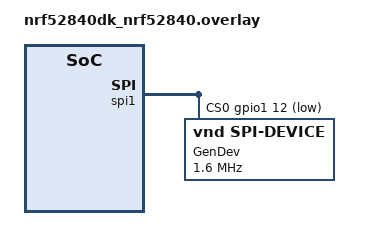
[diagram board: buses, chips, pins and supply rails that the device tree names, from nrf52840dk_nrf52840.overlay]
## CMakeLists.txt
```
# SPDX-License-Identifier: Apache-2.0

cmake_minimum_required(VERSION 3.20.0)
set_property(GLOBAL PROPERTY CSTD c11)
find_package(Zephyr REQUIRED HINTS $ENV{ZEPHYR_BASE})
project(ble-ad7124)

target_sources(app PRIVATE src/main.c src/ad7124_ble.c src/ad7124_support.c src/ad7124.c src/storage_nvs.c)
```

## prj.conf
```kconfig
CONFIG_GPIO=y

CONFIG_SPI=y
CONFIG_HEAP_MEM_POOL_SIZE=1024

CONFIG_BT=y
CONFIG_SETTINGS=y
CONFIG_BT_SMP=y
CONFIG_BT_SIGNING=y
CONFIG_BT_PERIPHERAL=y
CONFIG_BT_BAS=y

CONFIG_BT_DEVICE_NAME="UU_respiratory"
CONFIG_BT_DEVICE_APPEARANCE=541
CONFIG_BT_DEVICE_NAME_DYNAMIC=n
CONFIG_BT_PRIVACY=n

#memory
CONFIG_FLASH=y
CONFIG_FLASH_PAGE_LAYOUT=y
CONFIG_FLASH_MAP=y
CONFIG_NVS=y
CONFIG_NORDIC_QSPI_NOR=y
CONFIG_NORDIC_QSPI_NOR_FLASH_LAYOUT_PAGE_SIZE=4096
CONFIG_HEAP_MEM_POOL_SIZE=2048
CONFIG_PM_DEVICE=y
CONFIG_PARTITION_MANAGER_ENABLED=y

#power
CONFIG_USB_DEVICE_STACK=n
CONFIG_POWEROFF=y


CONFIG_LOG=n
CONFIG_SERIAL=n
CONFIG_CONSOLE=n
CONFIG_USB_CDC_ACM_LOG_LEVEL_OFF=n
```

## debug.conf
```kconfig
#debug
CONFIG_LOG=y
CONFIG_RTT_CONSOLE=y
CONFIG_USE_SEGGER_RTT=y
CONFIG_CBPRINTF_FP_SUPPORT=y
CONFIG_CORTEX_M_DEBUG_MONITOR_HOOK=y
CONFIG_SEGGER_DEBUGMON=y
CONFIG_DEBUG_OPTIMIZATIONS=y
CONFIG_DEBUG_THREAD_INFO=y
CONFIG_LOG_FUNC_NAME_PREFIX_ERR=y
```

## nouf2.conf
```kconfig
CONFIG_BUILD_OUTPUT_UF2=n
CONFIG_USE_DT_CODE_PARTITION=n
```

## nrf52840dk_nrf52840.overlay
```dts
&spi1 {
    status = "okay";
	cs-gpios = <&gpio1 12 GPIO_ACTIVE_LOW>;	
	gendev: gendev@0 {
		compatible = "vnd,spi-device";
		reg = <0>;
		spi-max-frequency = <1600000>;
		label = "GenDev";
	}; 
};
```

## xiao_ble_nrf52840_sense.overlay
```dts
/*
 * Copyright (c) 2024 Centro de Inovacao EDGE
 *
 * SPDX-License-Identifier: Apache-2.0
 */

 / {
	// zephyr,user {
	// 	signal-gpios = <&gpio1 11 GPIO_ACTIVE_HIGH>;			
	// };

	aliases {
		adc0 = &adc;
        spi-flash0 = &p25q16h;	
			
	};
	
	msm261d3526hicpm-c-en {		
		status = "disabled";
	};

	lsm6ds3tr-c-en {
		status = "disabled";
	};

	// sw_en: ad7124-c-en {
	// 	compatible = "regulator-fixed-sync", "regulator-fixed";
	// 	enable-gpios = <&gpio1 11 (NRF_GPIO_DRIVE_S0H1 | GPIO_ACTIVE_HIGH)>;
	// 	regulator-name = "AD7124_C_EN";
	// 	// regulator-boot-on;
	// 	// startup-delay-us = <3000>;
	// };    
};

&gpio0 {
    status = "disabled";
    sense-edge-mask = <0xffffffff>;
};

&gpio1 {
    status = "okay";
    //sense-edge-mask = <0xffffffff>;
};

&uart0 {
    status = "disabled";
};

&pwm0 {
    status = "disabled"; 
};

&spi0 {
	status = "disabled";
};

&spi1 {
	status = "disabled";
};

&spi2 {    
	status = "okay";
	cs-gpios = <&gpio1 12 GPIO_ACTIVE_LOW>;	
		
	gendev: gendev@0 {
		
		compatible = "vnd,spi-device";
		reg = <0>;		
		spi-max-frequency = <DT_FREQ_M(1)>;
		
		label = "GenDev";
		status = "okay";
	}; 
};

&i2c0 {	
    lsm6ds3tr_c: lsm6ds3tr-c@6a {
        status = "disabled";
    };
	status = "disabled";
};

&i2c1 {
    status = "disabled";
};

&ieee802154 {
    status = "disabled";
};

&rtc0 {
	status = "okay";
};

&usbd {
    status = "disabled";
};

&adc {
	// #address-cells = <1>;
	// #size-cells = <0>;

	// channel@0 {
	// 	reg = <0>;
	// 	zephyr,gain = "ADC_GAIN_1";
	// 	zephyr,reference = "ADC_REF_INTERNAL";
	// 	zephyr,acquisition-time = <ADC_ACQ_TIME_DEFAULT>;
	// 	zephyr,input-positive = <NRF_SAADC_AIN1>; /* P0.03 */
	// 	zephyr,oversampling = <8>;
	// };

	// channel@1 {
	// 	reg = <1>;
	// 	zephyr,gain = "ADC_GAIN_1_6";
	// 	zephyr,reference = "ADC_REF_INTERNAL";
	// 	zephyr,acquisition-time = <ADC_ACQ_TIME_DEFAULT>;
	// 	zephyr,input-positive = <NRF_SAADC_VDD>;
	// 	zephyr,oversampling = <8>;
	// };
};

// &pinctrl {
//     qspi_default: qspi_default {
// 		group1 {
// 			psels = <NRF_PSEL(QSPI_SCK, 0, 21)>,
// 				<NRF_PSEL(QSPI_IO0, 0, 20)>,
// 				<NRF_PSEL(QSPI_IO1, 0, 24)>,
// 				<NRF_PSEL(QSPI_IO2, 0, 22)>,
// 				<NRF_PSEL(QSPI_IO3, 0, 23)>,
// 				<NRF_PSEL(QSPI_CSN, 0, 25)>;
// 		};
// 	};

// 	qspi_sleep: qspi_sleep {
// 		group1 {
// 			psels = <NRF_PSEL(QSPI_SCK, 0, 21)>,
// 				<NRF_PSEL(QSPI_IO0, 0, 20)>,
// 				<NRF_PSEL(QSPI_IO1, 0, 24)>,
// 				<NRF_PSEL(QSPI_IO2, 0, 22)>,
// 				<NRF_PSEL(QSPI_IO3, 0, 23)>;
// 			low-power-enable;
// 		};
//         group2 {
// 			psels = <NRF_PSEL(QSPI_CSN, 0, 25)>;
// 			low-power-enable;
// 			bias-pull-up;
// 		};
// 	};
//};
```

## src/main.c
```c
#include <zephyr/kernel.h>


int main(void)
{	
	k_sleep(K_FOREVER);
	
	return 0;

}
```

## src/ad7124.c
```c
/* **************************************************************************//**
*   @file    ad7124.c
*   @brief   AD7124 implementation file.
*   	     Devices: AD7124-4, AD7124-8
*
********************************************************************************
* Copyright 2015-2019(c) Analog Devices, Inc.
*/
#include "ad7124.h"
#include <stdbool.h>
#include <zephyr/logging/log.h>

LOG_MODULE_REGISTER(AD7124_CORE, LOG_LEVEL_INF);
/* Error codes */
#define INVALID_VAL -1 /* Invalid argument */
#define COMM_ERR    -2 /* Communication error on receive */
#define TIMEOUT     -3 /* A timeout has occured */

/*
 * Post reset delay required to ensure all internal config done
 * A time of 2ms should be enough based on the data sheet, but 4ms
 * chosen to provide enough margin, in case mdelay is not accurate.
 */
#define AD7124_POST_RESET_DELAY      4
#define buflen 8



/***************************************************************************//**
 * @brief Reads the value of the specified register without checking if the
 *        device is ready to accept user requests.
 *
 * @param dev   - The handler of the instance of the driver.
 * @param p_reg - Pointer to the register structure holding info about the
 *               register to be read. The read value is stored inside the
 *               register structure.
 *
 * @return Returns 0 for success or negative error code.
*******************************************************************************/
int32_t ad7124_no_check_read_register(struct ad7124_dev *dev,
				      struct ad7124_st_reg* p_reg)
{
	
	int32_t ret = 0;
	uint8_t bufsend[buflen] = {0};
	uint8_t bufrec[buflen] = {0};
	uint8_t i = 0;
	uint8_t check8 = 0, add_status_length = 0;
	uint8_t msg_buf[buflen] = {0, 0, 0, 0, 0, 0, 0, 0};

	if(!dev || !p_reg)
		return INVALID_VAL;

	/* Build the Command word */
	bufsend[0] = AD7124_COMM_REG_WEN | AD7124_COMM_REG_RD |
		    AD7124_COMM_REG_RA(p_reg->addr);

	/*
	 * If this is an AD7124_DATA register read, and the DATA_STATUS bit is set
	 * in ADC_CONTROL, need to read 4, not 3 bytes for DATA with STATUS
	 */
	if ((p_reg->addr == AD7124_DATA_REG) &&
	    (dev->regs[AD7124_ADC_Control].value & AD7124_ADC_CTRL_REG_DATA_STATUS)) {
		add_status_length = 1;
	}

	/* Read data from the device */
	//spi_write_read_blocking(spi_default, bufsend, bufrec,
	//			 ((dev->use_crc != AD7124_DISABLE_CRC) ? p_reg->size + 1 : p_reg->size) + 1 + add_status_length);
	ret = dev->tranceiver(dev->handle, bufsend, bufrec, ((dev->use_crc != AD7124_DISABLE_CRC) ? p_reg->size + 1 : p_reg->size) + 1 + add_status_length);

	if(ret < 0) {
		LOG_ERR("error register addr %d", p_reg->addr);
		return ret;
	}
		

	/* Check the CRC */
	if(dev->use_crc == AD7124_USE_CRC) {
		msg_buf[0] = AD7124_COMM_REG_WEN | AD7124_COMM_REG_RD |
			     AD7124_COMM_REG_RA(p_reg->addr);
		for(i = 1; i < p_reg->size + 2 + add_status_length; ++i) {
			msg_buf[i] = bufrec[i]; //still allright?!
		}
		check8 = ad7124_compute_crc8(msg_buf, p_reg->size + 2 + add_status_length);
	}

	if(check8 != 0) {
		/* ReadRegister checksum failed. */
		return COMM_ERR;
	}

	/*
	 * if reading Data with 4 bytes, need to copy the status byte to the STATUS
	 * register struct value member
	 */
	if (add_status_length) {
		dev->regs[AD7124_Status].value = bufrec[p_reg->size + 1];
	}

	/* Build the result */
	p_reg->value = 0;
	for(i = 1; i < p_reg->size + 1; i++) {
		p_reg->value <<= 8;
		p_reg->value += bufrec[i];
	}

	return ret;
}

/***************************************************************************//**
 * @brief Writes the value of the specified register without checking if the
 *        device is ready to accept user requests.
 *
 * @param dev - The handler of the instance of the driver.
 * @param reg - Register structure holding info about the register to be written
 *
 * @return Returns 0 for success or negative error code.
*******************************************************************************/
int32_t ad7124_no_check_write_register(struct ad7124_dev *dev,
				       struct ad7124_st_reg reg)
{
	int32_t ret = 0;
	int32_t reg_value = 0;
	uint8_t wr_buf[buflen] = {0}, rd_buf[buflen] = {0};

	uint8_t i = 0;
	uint8_t crc8 = 0;

	if(!dev) {
		LOG_ERR("device not found!");
		return INVALID_VAL;		
	}
		

	/* Build the Command word */
	wr_buf[0] = AD7124_COMM_REG_WEN | AD7124_COMM_REG_WR |
		    AD7124_COMM_REG_RA(reg.addr);

	/* Fill the write buffer */
	reg_value = reg.value;
	for(i = 0; i < reg.size; i++) {
		wr_buf[reg.size - i] = reg_value & 0xFF;
		reg_value >>= 8;
	}

	/* Compute the CRC */
	if(dev->use_crc != AD7124_DISABLE_CRC) {
		crc8 = ad7124_compute_crc8(wr_buf, reg.size + 1);
		wr_buf[reg.size + 1] = crc8;
	}

	/* Write data to the device */
	// ret = spi_write_read_blocking(spi_default,
	// 			 wr_buf, rd_buf,
	// 			 (dev->use_crc != AD7124_DISABLE_CRC) ? reg.size + 2
	// 			 : reg.size + 1);

	ret = dev->tranceiver(dev->handle, wr_buf, rd_buf, (dev->use_crc != AD7124_DISABLE_CRC) ? reg.size + 2 : reg.size + 1);

	return ret;
}

/***************************************************************************//**
 * @brief Reads the value of the specified register only when the device is ready
 *        to accept user requests. If the device ready flag is deactivated the
 *        read operation will be executed without checking the device state.
 *
 * @param dev   - The handler of the instance of the driver.
 * @param p_reg - Pointer to the register structure holding info about the
 *               register to be read. The read value is stored inside the
 *               register structure.
 *
 * @return Returns 0 for success or negative error code.
*******************************************************************************/
int32_t ad7124_read_register(struct ad7124_dev *dev,
			     struct ad7124_st_reg* p_reg)
{
	int32_t ret;

	if (p_reg->addr != AD7124_ERR_REG && dev->check_ready) {
		ret = ad7124_wait_for_spi_ready(dev,
						dev->spi_rdy_poll_cnt);
		if (ret < 0) {
			LOG_ERR("err register %d", p_reg->addr);
			return ret;
		}
			
	}
	ret = ad7124_no_check_read_register(dev,
					    p_reg);

	return ret;
}

/***************************************************************************//**
 * @brief Writes the value of the specified register only when the device is
 *        ready to accept user requests. If the device ready flag is deactivated
 *        the write operation will be executed without checking the device state.
 *
 * @param dev - The handler of the instance of the driver.
 * @param p_reg - Register structure holding info about the register to be written
 *
 * @return Returns 0 for success or negative error code.
*******************************************************************************/
int32_t ad7124_write_register(struct ad7124_dev *dev,
			      struct ad7124_st_reg p_reg)
{
	int32_t ret;

	if (dev->check_ready) {
		ret = ad7124_wait_for_spi_ready(dev, dev->spi_rdy_poll_cnt);
		if (ret < 0) {
			LOG_ERR("timeout spi ready");
			return ret;			
		}
	}
	ret = ad7124_no_check_write_register(dev, p_reg);

	return ret;
}

/***************************************************************************//**
 * @brief Resets the device.
 *
 * @param dev - The handler of the instance of the driver.
 *
 * @return Returns 0 for success or negative error code.
*******************************************************************************/
int32_t ad7124_reset(struct ad7124_dev *dev)
{
	int32_t ret = 0;
	uint8_t wr_buf[buflen] = {0xFF, 0xFF, 0xFF, 0xFF, 0xFF, 0xFF, 0xFF, 0xFF}, rd_buf[buflen] = {0};

	if(!dev)
		return INVALID_VAL;

	//ret = spi_write_read_blocking(spi_default, wr_buf, rd_buf, 8);
	ret = dev->tranceiver(dev->handle, wr_buf, rd_buf, 8);

	/* CRC is disabled after reset */
	dev->use_crc = AD7124_DISABLE_CRC;

	/* Read POR bit to clear */
	ret = ad7124_wait_to_power_on(dev, dev->spi_rdy_poll_cnt);
	
	return ret;
}

/***************************************************************************//**
 * @brief Waits until the device can accept read and write user actions.
 *
 * @param dev     - The handler of the instance of the driver.
 * @param timeout - Count representing the number of polls to be done until the
 *                  function returns.
 *
 * @return Returns 0 for success or negative error code.
*******************************************************************************/
int32_t ad7124_wait_for_spi_ready(struct ad7124_dev *dev,
				  uint32_t timeout)
{
	struct ad7124_st_reg *regs;
	int32_t ret;
	int8_t ready = 0;

	if(!dev)
		return INVALID_VAL;

	regs = dev->regs;

	while(!ready && --timeout) {

		
		/* Read the value of the Error Register */
		ret = ad7124_read_register(dev, &regs[AD7124_Error]);
		if(ret < 0) {
			LOG_ERR("error reading error register");
			return ret;
		}
			
		
		/* Check the SPI IGNORE Error bit in the Error Register */
		ready = (regs[AD7124_Error].value &
			 AD7124_ERR_REG_SPI_IGNORE_ERR) == 0;		
	}
	if(!timeout) LOG_ERR("timeout occured");

	return timeout ? 0 : TIMEOUT;
}

/***************************************************************************//**
 * @brief Waits until the device finishes the power-on reset operation.
 *
 * @param dev     - The handler of the instance of the driver.
 * @param timeout - Count representing the number of polls to be done until the
 *                  function returns.
 *
 * @return Returns 0 for success or negative error code.
*******************************************************************************/
int32_t ad7124_wait_to_power_on(struct ad7124_dev *dev,
				uint32_t timeout)
{
	struct ad7124_st_reg *regs;
	int32_t ret;
	int8_t powered_on = 0;

	if(!dev)
		return INVALID_VAL;

	regs = dev->regs;

	while(!powered_on && timeout--) {
		ret = ad7124_read_register(dev,
					   &regs[AD7124_Status]);
		if(ret < 0)
			return ret;

		/* Check the POR_FLAG bit in the Status Register */
		powered_on = (regs[AD7124_Status].value &
			      AD7124_STATUS_REG_POR_FLAG) == 0;
	}

	return (timeout || powered_on) ? 0 : TIMEOUT;
}

/***************************************************************************//**
 * @brief Waits until a new conversion result is available.
 *
 * @param dev     - The handler of the instance of the driver.
 * @param timeout - Count representing the number of polls to be done until the
 *                  function returns if no new data is available.
 *
 * @return Returns 0 for success or negative error code.
*******************************************************************************/
int32_t ad7124_wait_for_conv_ready(struct ad7124_dev *dev,
				   uint32_t timeout)
{
	struct ad7124_st_reg *regs;
	int32_t ret;
	int8_t ready = 0;

	if(!dev)
		return INVALID_VAL;

	regs = dev->regs;

	while(!ready && --timeout) {
		/* Read the value of the Status Register */
		ret = ad7124_read_register(dev, &regs[AD7124_Status]);
		if(ret < 0)
			return ret;

		dev->ptDelay(100);
		/* Check the RDY bit in the Status Register */
		ready = (regs[AD7124_Status].value &
			 AD7124_STATUS_REG_RDY) == 0;				
	}
	if(timeout < 1)
		LOG_ERR("timeout for conv_ready %d", timeout);
	
	return timeout ? 0 : TIMEOUT;
}

/***************************************************************************//**
 * @brief Reads the conversion result from the device.
 *
 * @param dev     - The handler of the instance of the driver.
 * @param p_data  - Pointer to store the read data.
 *
 * @return Returns 0 for success or negative error code.
*******************************************************************************/
int32_t ad7124_read_data(struct ad7124_dev *dev,
			 int32_t* p_data)
{
	struct ad7124_st_reg *regs;
	int32_t ret;

	if(!dev)
		return INVALID_VAL;

	regs = dev->regs;

	/* Read the value of the Status Register */
	ret = ad7124_read_register(dev, &regs[AD7124_Data]);

	/* Get the read result */
	*p_data = regs[AD7124_Data].value;

	return ret;
}

/***************************************************************************//**
 * @brief Computes the CRC checksum for a data buffer.
 *
 * @param p_buf    - Data buffer
 * @param buf_size - Data buffer size in bytes
 *
 * @return Returns the computed CRC checksum.
*******************************************************************************/
uint8_t ad7124_compute_crc8(uint8_t * p_buf, uint8_t buf_size)
{
	uint8_t i = 0;
	uint8_t crc = 0;

	while(buf_size) {
		for(i = 0x80; i != 0; i >>= 1) {
			bool cmp1 = (crc & 0x80) != 0;
			bool cmp2 = (*p_buf & i) != 0;
			if(cmp1 != cmp2) { /* MSB of CRC register XOR input Bit from Data */
				crc <<= 1;
				crc ^= AD7124_CRC8_POLYNOMIAL_REPRESENTATION;
			} else {
				crc <<= 1;
			}
		}
		p_buf++;
		buf_size--;
	}
	return crc;
}

/***************************************************************************//**
 * @brief Updates the CRC settings.
 *
 * @param dev - The handler of the instance of the driver.
 *
 * @return None.
*******************************************************************************/
void ad7124_update_crcsetting(struct ad7124_dev *dev)
{
	struct ad7124_st_reg *regs;

	if(!dev)
		return;

	regs = dev->regs;

	/* Get CRC State. */
	if (regs[AD7124_Error_En].value & AD7124_ERREN_REG_SPI_CRC_ERR_EN) {
		dev->use_crc = AD7124_USE_CRC;
	} else {
		dev->use_crc = AD7124_DISABLE_CRC;
	}
}

/***************************************************************************//**
 * @brief Updates the device SPI interface settings.
 *
 * @param dev - The handler of the instance of the driver.
 *
 * @return None.
*******************************************************************************/
void ad7124_update_dev_spi_settings(struct ad7124_dev *dev)
{
	struct ad7124_st_reg *regs;

	if(!dev)
		return;

	regs = dev->regs;

	if (regs[AD7124_Error_En].value & AD7124_ERREN_REG_SPI_IGNORE_ERR_EN) {
		dev->check_ready = 1;
	} else {
		dev->check_ready = 0;
	}
}

/***************************************************************************//**
 * @brief Initializes the AD7124.
 *
 * @param device     - The device structure.
 * @param init_param - The structure that contains the device initial
 * 		       parameters.
 *
 * @return Returns 0 for success or negative error code.
*******************************************************************************/
int32_t ad7124_setup(struct ad7124_dev *device)
{
	int32_t ret; 
	enum ad7124_registers reg_nr;			

	/*  Reset the device interface.*/
	ret = ad7124_reset(device);
	if (ret < 0)
		return ret;

	/* Update the device structure with power-on/reset settings */
	device->check_ready = 1;
	
	/* Initialize registers AD7124_ADC_Control through AD7124_Filter_7. */
	for(reg_nr = AD7124_Status; (reg_nr < AD7124_Offset_0) && !(ret < 0);
	    reg_nr++) {
		if (device->regs[reg_nr].rw == AD7124_RW) {
			ret = ad7124_write_register(device, device->regs[reg_nr]);
			if (ret < 0) {
				LOG_ERR("error setup writing %d", reg_nr);
				return ret;
			}
		}

		/* Get CRC State and device SPI interface settings */
		if (reg_nr == AD7124_Error_En) {
			ad7124_update_crcsetting(device);
			ad7124_update_dev_spi_settings(device);
		}
	}	

	return ret;
}
```

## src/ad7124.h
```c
/***************************************************************************//**
*   @file    ad7124.h
*   @brief   AD7124 header file.
*   	     Devices AD7124-4, AD7124-8
*
*/
#ifndef __AD7124_H__
#define __AD7124_H__

#include <stdint.h>
#include <stdlib.h>

#define	AD7124_RW 1   /* Read and Write */
#define	AD7124_R  2   /* Read only */
#define AD7124_W  3   /* Write only */

/* AD7124 Register Map */
#define AD7124_COMM_REG      0x00
#define AD7124_STATUS_REG    0x00
#define AD7124_ADC_CTRL_REG  0x01
#define AD7124_DATA_REG      0x02
#define AD7124_IO_CTRL1_REG  0x03
#define AD7124_IO_CTRL2_REG  0x04
#define AD7124_ID_REG        0x05
#define AD7124_ERR_REG       0x06
#define AD7124_ERREN_REG     0x07
#define AD7124_CH0_MAP_REG   0x09
#define AD7124_CH1_MAP_REG   0x0A
#define AD7124_CH2_MAP_REG   0x0B
#define AD7124_CH3_MAP_REG   0x0C
#define AD7124_CH4_MAP_REG   0x0D
#define AD7124_CH5_MAP_REG   0x0E
#define AD7124_CH6_MAP_REG   0x0F
#define AD7124_CH7_MAP_REG   0x10
#define AD7124_CH8_MAP_REG   0x11
#define AD7124_CH9_MAP_REG   0x12
#define AD7124_CH10_MAP_REG  0x13
#define AD7124_CH11_MAP_REG  0x14
#define AD7124_CH12_MAP_REG  0x15
#define AD7124_CH13_MAP_REG  0x16
#define AD7124_CH14_MAP_REG  0x17
#define AD7124_CH15_MAP_REG  0x18
#define AD7124_CFG0_REG      0x19
#define AD7124_CFG1_REG      0x1A
#define AD7124_CFG2_REG      0x1B
#define AD7124_CFG3_REG      0x1C
#define AD7124_CFG4_REG      0x1D
#define AD7124_CFG5_REG      0x1E
#define AD7124_CFG6_REG      0x1F
#define AD7124_CFG7_REG      0x20
#define AD7124_FILT0_REG     0x21
#define AD7124_FILT1_REG     0x22
#define AD7124_FILT2_REG     0x23
#define AD7124_FILT3_REG     0x24
#define AD7124_FILT4_REG     0x25
#define AD7124_FILT5_REG     0x26
#define AD7124_FILT6_REG     0x27
#define AD7124_FILT7_REG     0x28
#define AD7124_OFFS0_REG     0x29
#define AD7124_OFFS1_REG     0x2A
#define AD7124_OFFS2_REG     0x2B
#define AD7124_OFFS3_REG     0x2C
#define AD7124_OFFS4_REG     0x2D
#define AD7124_OFFS5_REG     0x2E
#define AD7124_OFFS6_REG     0x2F
#define AD7124_OFFS7_REG     0x30
#define AD7124_GAIN0_REG     0x31
#define AD7124_GAIN1_REG     0x32
#define AD7124_GAIN2_REG     0x33
#define AD7124_GAIN3_REG     0x34
#define AD7124_GAIN4_REG     0x35
#define AD7124_GAIN5_REG     0x36
#define AD7124_GAIN6_REG     0x37
#define AD7124_GAIN7_REG     0x38

/* Communication Register bits */
#define AD7124_COMM_REG_WEN    (0 << 7)
#define AD7124_COMM_REG_WR     (0 << 6)
#define AD7124_COMM_REG_RD     (1 << 6)
#define AD7124_COMM_REG_RA(x)  ((x) & 0x3F)

/* Status Register bits */
#define AD7124_STATUS_REG_RDY          (1 << 7)
#define AD7124_STATUS_REG_ERROR_FLAG   (1 << 6)
#define AD7124_STATUS_REG_POR_FLAG     (1 << 4)
#define AD7124_STATUS_REG_CH_ACTIVE(x) ((x) & 0xF)

/* ADC_Control Register bits */
#define AD7124_ADC_CTRL_REG_DOUT_RDY_DEL   (1 << 12)
#define AD7124_ADC_CTRL_REG_CONT_READ      (1 << 11)
#define AD7124_ADC_CTRL_REG_DATA_STATUS    (1 << 10)
#define AD7124_ADC_CTRL_REG_CS_EN          (1 << 9)
#define AD7124_ADC_CTRL_REG_REF_EN         (1 << 8)
#define AD7124_ADC_CTRL_REG_POWER_MODE(x)  (((x) & 0x3) << 6)
#define AD7124_ADC_CTRL_REG_MODE(x)        (((x) & 0xF) << 2)
#define AD7124_ADC_CTRL_REG_CLK_SEL(x)     (((x) & 0x3) << 0)

/* IO_Control_1 Register bits */
#define AD7124_IO_CTRL1_REG_GPIO_DAT2     (1 << 23)
#define AD7124_IO_CTRL1_REG_GPIO_DAT1     (1 << 22)
#define AD7124_IO_CTRL1_REG_GPIO_CTRL2    (1 << 19)
#define AD7124_IO_CTRL1_REG_GPIO_CTRL1    (1 << 18)
#define AD7124_IO_CTRL1_REG_PDSW          (1 << 15)
#define AD7124_IO_CTRL1_REG_IOUT1(x)      (((x) & 0x7) << 11)
#define AD7124_IO_CTRL1_REG_IOUT0(x)      (((x) & 0x7) << 8)
#define AD7124_IO_CTRL1_REG_IOUT_CH1(x)   (((x) & 0xF) << 4)
#define AD7124_IO_CTRL1_REG_IOUT_CH0(x)   (((x) & 0xF) << 0)

/* IO_Control_1 AD7124-8 specific bits */
#define AD7124_8_IO_CTRL1_REG_GPIO_DAT4     (1 << 23)
#define AD7124_8_IO_CTRL1_REG_GPIO_DAT3     (1 << 22)
#define AD7124_8_IO_CTRL1_REG_GPIO_DAT2     (1 << 21)
#define AD7124_8_IO_CTRL1_REG_GPIO_DAT1     (1 << 20)
#define AD7124_8_IO_CTRL1_REG_GPIO_CTRL4    (1 << 19)
#define AD7124_8_IO_CTRL1_REG_GPIO_CTRL3    (1 << 18)
#define AD7124_8_IO_CTRL1_REG_GPIO_CTRL2    (1 << 17)
#define AD7124_8_IO_CTRL1_REG_GPIO_CTRL1    (1 << 16)

/* IO_Control_2 Register bits */
#define AD7124_IO_CTRL2_REG_GPIO_VBIAS7   (1 << 15)
#define AD7124_IO_CTRL2_REG_GPIO_VBIAS6   (1 << 14)
#define AD7124_IO_CTRL2_REG_GPIO_VBIAS5   (1 << 11)
#define AD7124_IO_CTRL2_REG_GPIO_VBIAS4   (1 << 10)
#define AD7124_IO_CTRL2_REG_GPIO_VBIAS3   (1 << 5)
#define AD7124_IO_CTRL2_REG_GPIO_VBIAS2   (1 << 4)
#define AD7124_IO_CTRL2_REG_GPIO_VBIAS1   (1 << 1)
#define AD7124_IO_CTRL2_REG_GPIO_VBIAS0   (1 << 0)

/* IO_Control_2 AD7124-8 specific bits */
#define AD7124_8_IO_CTRL2_REG_GPIO_VBIAS15  (1 << 15)
#define AD7124_8_IO_CTRL2_REG_GPIO_VBIAS14  (1 << 14)
#define AD7124_8_IO_CTRL2_REG_GPIO_VBIAS13  (1 << 13)
#define AD7124_8_IO_CTRL2_REG_GPIO_VBIAS12  (1 << 12)
#define AD7124_8_IO_CTRL2_REG_GPIO_VBIAS11  (1 << 11)
#define AD7124_8_IO_CTRL2_REG_GPIO_VBIAS10  (1 << 10)
#define AD7124_8_IO_CTRL2_REG_GPIO_VBIAS9   (1 << 9)
#define AD7124_8_IO_CTRL2_REG_GPIO_VBIAS8   (1 << 8)
#define AD7124_8_IO_CTRL2_REG_GPIO_VBIAS7   (1 << 7)
#define AD7124_8_IO_CTRL2_REG_GPIO_VBIAS6   (1 << 6)
#define AD7124_8_IO_CTRL2_REG_GPIO_VBIAS5   (1 << 5)
#define AD7124_8_IO_CTRL2_REG_GPIO_VBIAS4   (1 << 4)
#define AD7124_8_IO_CTRL2_REG_GPIO_VBIAS3   (1 << 3)
#define AD7124_8_IO_CTRL2_REG_GPIO_VBIAS2   (1 << 2)
#define AD7124_8_IO_CTRL2_REG_GPIO_VBIAS1   (1 << 1)
#define AD7124_8_IO_CTRL2_REG_GPIO_VBIAS0   (1 << 0)

/* ID Register bits */
#define AD7124_ID_REG_DEVICE_ID(x)   (((x) & 0xF) << 4)
#define AD7124_ID_REG_SILICON_REV(x) (((x) & 0xF) << 0)

/* Error Register bits */
#define AD7124_ERR_REG_LDO_CAP_ERR        (1 << 19)
#define AD7124_ERR_REG_ADC_CAL_ERR        (1 << 18)
#define AD7124_ERR_REG_ADC_CONV_ERR       (1 << 17)
#define AD7124_ERR_REG_ADC_SAT_ERR        (1 << 16)
#define AD7124_ERR_REG_AINP_OV_ERR        (1 << 15)
#define AD7124_ERR_REG_AINP_UV_ERR        (1 << 14)
#define AD7124_ERR_REG_AINM_OV_ERR        (1 << 13)
#define AD7124_ERR_REG_AINM_UV_ERR        (1 << 12)
#define AD7124_ERR_REG_REF_DET_ERR        (1 << 11)
#define AD7124_ERR_REG_DLDO_PSM_ERR       (1 << 9)
#define AD7124_ERR_REG_ALDO_PSM_ERR       (1 << 7)
#define AD7124_ERR_REG_SPI_IGNORE_ERR     (1 << 6)
#define AD7124_ERR_REG_SPI_SLCK_CNT_ERR   (1 << 5)
#define AD7124_ERR_REG_SPI_READ_ERR       (1 << 4)
#define AD7124_ERR_REG_SPI_WRITE_ERR      (1 << 3)
#define AD7124_ERR_REG_SPI_CRC_ERR        (1 << 2)
#define AD7124_ERR_REG_MM_CRC_ERR         (1 << 1)
#define AD7124_ERR_REG_ROM_CRC_ERR        (1 << 0)

/* Error_En Register bits */
#define AD7124_ERREN_REG_MCLK_CNT_EN           (1 << 22)
#define AD7124_ERREN_REG_LDO_CAP_CHK_TEST_EN   (1 << 21)
#define AD7124_ERREN_REG_LDO_CAP_CHK(x)        (((x) & 0x3) << 19)
#define AD7124_ERREN_REG_ADC_CAL_ERR_EN        (1 << 18)
#define AD7124_ERREN_REG_ADC_CONV_ERR_EN       (1 << 17)
#define AD7124_ERREN_REG_ADC_SAT_ERR_EN        (1 << 16)
#define AD7124_ERREN_REG_AINP_OV_ERR_EN        (1 << 15)
#define AD7124_ERREN_REG_AINP_UV_ERR_EN        (1 << 14)
#define AD7124_ERREN_REG_AINM_OV_ERR_EN        (1 << 13)
#define AD7124_ERREN_REG_AINM_UV_ERR_EN        (1 << 12)
#define AD7124_ERREN_REG_REF_DET_ERR_EN        (1 << 11)
#define AD7124_ERREN_REG_DLDO_PSM_TRIP_TEST_EN (1 << 10)
#define AD7124_ERREN_REG_DLDO_PSM_ERR_ERR      (1 << 9)
#define AD7124_ERREN_REG_ALDO_PSM_TRIP_TEST_EN (1 << 8)
#define AD7124_ERREN_REG_ALDO_PSM_ERR_EN       (1 << 7)
#define AD7124_ERREN_REG_SPI_IGNORE_ERR_EN     (1 << 6)
#define AD7124_ERREN_REG_SPI_SCLK_CNT_ERR_EN   (1 << 5)
#define AD7124_ERREN_REG_SPI_READ_ERR_EN       (1 << 4)
#define AD7124_ERREN_REG_SPI_WRITE_ERR_EN      (1 << 3)
#define AD7124_ERREN_REG_SPI_CRC_ERR_EN        (1 << 2)
#define AD7124_ERREN_REG_MM_CRC_ERR_EN         (1 << 1)
#define AD7124_ERREN_REG_ROM_CRC_ERR_EN        (1 << 0)

/* Channel Registers 0-15 bits */
#define AD7124_CH_MAP_REG_CH_ENABLE    (1 << 15)
#define AD7124_CH_MAP_REG_SETUP(x)     (((x) & 0x7) << 12)
#define AD7124_CH_MAP_REG_AINP(x)      (((x) & 0x1F) << 5)
#define AD7124_CH_MAP_REG_AINM(x)      (((x) & 0x1F) << 0)

/* Configuration Registers 0-7 bits */
#define AD7124_CFG_REG_BIPOLAR     (1 << 11)
#define AD7124_CFG_REG_BURNOUT(x)  (((x) & 0x3) << 9)
#define AD7124_CFG_REG_REF_BUFP    (1 << 8)
#define AD7124_CFG_REG_REF_BUFM    (1 << 7)
#define AD7124_CFG_REG_AIN_BUFP    (1 << 6)
#define AD7124_CFG_REG_AINN_BUFM   (1 << 5)
#define AD7124_CFG_REG_REF_SEL(x)  ((x) & 0x3) << 3
#define AD7124_CFG_REG_PGA(x)      (((x) & 0x7) << 0)

/* Filter Register 0-7 bits */
#define AD7124_FILT_REG_FILTER(x)         (((x) & 0x7) << 21)
#define AD7124_FILT_REG_REJ60             (1 << 20)
#define AD7124_FILT_REG_POST_FILTER(x)    (((x) & 0x7) << 17)
#define AD7124_FILT_REG_SINGLE_CYCLE      (1 << 16)
#define AD7124_FILT_REG_FS(x)             (((x) & 0x7FF) << 0)

/******************************************************************************/
/*************************** Types Declarations *******************************/
/******************************************************************************/

/*! Device register info */
struct ad7124_st_reg {
	int32_t addr;
	int32_t value;
	int32_t size;
	int32_t rw;
};

/*! AD7124 registers list*/
enum ad7124_registers {
	AD7124_Status = 0x00,
	AD7124_ADC_Control,
	AD7124_Data,
	AD7124_IOCon1,
	AD7124_IOCon2,
	AD7124_ID,
	AD7124_Error,
	AD7124_Error_En,
	AD7124_Mclk_Count,
	AD7124_Channel_0,
	AD7124_Channel_1,
	AD7124_Channel_2,
	AD7124_Channel_3,
	AD7124_Channel_4,
	AD7124_Channel_5,
	AD7124_Channel_6,
	AD7124_Channel_7,
	AD7124_Channel_8,
	AD7124_Channel_9,
	AD7124_Channel_10,
	AD7124_Channel_11,
	AD7124_Channel_12,
	AD7124_Channel_13,
	AD7124_Channel_14,
	AD7124_Channel_15,
	AD7124_Config_0,
	AD7124_Config_1,
	AD7124_Config_2,
	AD7124_Config_3,
	AD7124_Config_4,
	AD7124_Config_5,
	AD7124_Config_6,
	AD7124_Config_7,
	AD7124_Filter_0,
	AD7124_Filter_1,
	AD7124_Filter_2,
	AD7124_Filter_3,
	AD7124_Filter_4,
	AD7124_Filter_5,
	AD7124_Filter_6,
	AD7124_Filter_7,
	AD7124_Offset_0,
	AD7124_Offset_1,
	AD7124_Offset_2,
	AD7124_Offset_3,
	AD7124_Offset_4,
	AD7124_Offset_5,
	AD7124_Offset_6,
	AD7124_Offset_7,
	AD7124_Gain_0,
	AD7124_Gain_1,
	AD7124_Gain_2,
	AD7124_Gain_3,
	AD7124_Gain_4,
	AD7124_Gain_5,
	AD7124_Gain_6,
	AD7124_Gain_7,
	AD7124_REG_NO
};

/// @brief delay plaform specific
typedef void (*ad7124_delay_ptr)(uint32_t);

/// @brief spi write: handle, buf send, buf receive, length
typedef int (*ad7124_transceive_ptr)(void *, uint8_t *, uint8_t *, size_t);

/*
 * The structure describes the device and is used with the ad7124 driver.
 * @spi_desc: A reference to the SPI configuration of the device.
 * @regs: A reference to the register list of the device that the user must
 *       provide when calling the Setup() function.
 * @userCRC: Whether to do or not a cyclic redundancy check on SPI transfers.
 * @check_ready: When enabled all register read and write calls will first wait
 *               until the device is ready to accept user requests.
 * @spi_rdy_poll_cnt: Number of times the driver should read the Error register
 *                    to check if the device is ready to accept user requests,
 *                    before a timeout error will be issued.
 */
struct ad7124_dev {
	/* SPI */	
	/* Device Settings */	
	struct ad7124_st_reg *regs;
	int16_t use_crc;
	int16_t check_ready;	
	int16_t spi_rdy_poll_cnt;	
	
	ad7124_transceive_ptr tranceiver;
	ad7124_delay_ptr ptDelay;			
  	
	void *handle;
};



// AD7124 Constants

#define AD7124_CRC8_POLYNOMIAL_REPRESENTATION 0x07 /* x8 + x2 + x + 1 */
#define AD7124_DISABLE_CRC 0
#define AD7124_USE_CRC 1

/*! Reads the value of the specified register. */
int32_t ad7124_read_register(struct ad7124_dev *dev,
			     struct ad7124_st_reg* p_reg);

/*! Writes the value of the specified register. */
int32_t ad7124_write_register(struct ad7124_dev *dev,
			      struct ad7124_st_reg reg);

/*! Reads the value of the specified register without a device state check. */
int32_t ad7124_no_check_read_register(struct ad7124_dev *dev,
				      struct ad7124_st_reg* p_reg);

/*! Writes the value of the specified register without a device state check. */
int32_t ad7124_no_check_write_register(struct ad7124_dev *dev,
				       struct ad7124_st_reg reg);

/*! Resets the device. */
int32_t ad7124_reset(struct ad7124_dev *dev);

/*! Waits until the device can accept read and write user actions. */
int32_t ad7124_wait_for_spi_ready(struct ad7124_dev *dev,
				  uint32_t timeout);

/*! Waits until the device finishes the power-on reset operation. */
int32_t ad7124_wait_to_power_on(struct ad7124_dev *dev,
				uint32_t timeout);

/*! Waits until a new conversion result is available. */
int32_t ad7124_wait_for_conv_ready(struct ad7124_dev *dev,
				   uint32_t timeout);

/*! Reads the conversion result from the device. */
int32_t ad7124_read_data(struct ad7124_dev *dev,
			 int32_t* p_data);

/*! Computes the CRC checksum for a data buffer. */
uint8_t ad7124_compute_crc8(uint8_t* p_buf,
			    uint8_t buf_size);

/*! Updates the CRC settings. */
void ad7124_update_crcsetting(struct ad7124_dev *dev);

/*! Updates the device SPI interface settings. */
void ad7124_update_dev_spi_settings(struct ad7124_dev *dev);

/*! Initializes the AD7124. */
int32_t ad7124_setup(struct ad7124_dev *device);

#endif /* __AD7124_H__ */
```

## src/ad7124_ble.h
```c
/*!
 *****************************************************************************
  @file:  ad7124_console_app.h

  @brief: defines the console menu structure for the AD7124 example code

  @details:
 -----------------------------------------------------------------------------
Copyright (c) 2019 Analog Devices, Inc.  All rights reserved.

*/

#ifndef AD7124_CONSOLE_APP_H_
#define AD7124_CONSOLE_APP_H_




#endif /* AD7124_CONSOLE_APP_H_ */
```

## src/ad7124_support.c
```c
/*!
 *****************************************************************************
  @file:  ad7124_support.c

  @brief: Provides useful support functions for the AD7124 NoOS driver

  @details:
 -----------------------------------------------------------------------------
Copyright (c) 2019 Analog Devices, Inc.  All rights reserved.

*****************************************************************************/

#include <zephyr/kernel.h>
#include "ad7124_support.h"

// Public Functions
/*
 * @brief helper function get the setup setting for an ADC channel
 *
 * @param dev The device structure.
 *
 * @param channel ADC channel to get Setup for.
 *
 * @return value of setup field in channel configuration.
 */
uint8_t ad7124_get_channel_setup(struct ad7124_dev *dev, uint8_t channel)
{
	return (dev->regs[AD7124_Channel_0 + channel].value >> 12) & 0x7;
}


/*
 * @brief helper function get the PGA setting for an ADC channel
 *
 * @param dev The device structure.
 *
 * @param channel ADC channel to get Setup for.
 *
 * @return value of PGA field in the setup for an ADC channel.
 */
uint8_t ad7124_get_channel_pga(struct ad7124_dev *dev, uint8_t channel)
{
	uint8_t setup = ad7124_get_channel_setup(dev, channel);

	return (dev->regs[AD7124_Config_0 + setup].value) & 0x07;
}


/*
 * @brief helper function get the bipolar setting for an ADC channel
 *
 * @param dev The device structure.
 *
 * @param channel ADC channel to get bipolar mode for.
 *
 * @return value of bipolar field in the setup for an ADC channel.
 */
bool ad7124_get_channel_bipolar(struct ad7124_dev *dev, uint8_t channel)
{
	uint8_t setup = ad7124_get_channel_setup(dev, channel);

	return ((dev->regs[AD7124_Config_0 + setup].value >> 11) & 0x1) ? true : false;
}


/*
 * @brief converts ADC sample value to voltage based on gain setting
 *
 * @param dev The device structure.
 *
 * @param channel ADC channel to get Setup for.
 *
 * @param sample Raw ADC sample
 *
 * @return Sample ADC value converted to voltage.
 *
 * @note The conversion equation is implemented for simplicity,
 *       not for accuracy or performance
 *
 */
double ad7124_convert_sample_to_voltage(struct ad7124_dev *dev, uint8_t channel, uint32_t sample)
{
	bool isBipolar = ad7124_get_channel_bipolar(dev, channel);
	uint8_t channelPGA = ad7124_get_channel_pga(dev, channel);

	float convertedValue;

	if (isBipolar) {
        convertedValue = ( ((double)sample / (1 << (AD7124_ADC_N_BITS -1))) -1 ) * \
        		              (AD7124_REF_VOLTAGE / AD7124_PGA_GAIN(channelPGA));
	} else {
		convertedValue = ((double)sample * AD7124_REF_VOLTAGE)/(AD7124_PGA_GAIN(channelPGA) * \
								                              (1 << AD7124_ADC_N_BITS));
	}

    return (convertedValue);
}
```

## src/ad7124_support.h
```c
/*!
 *****************************************************************************
  @file:  ad7124_support.h

  @brief: Provides useful support functions for the AD7124 NoOS driver

  @details:
 -----------------------------------------------------------------------------
Copyright (c) 2019 Analog Devices, Inc.  All rights reserved.

*/

#ifndef AD7124_SUPPORT_H_
#define AD7124_SUPPORT_H_

#include "ad7124.h"

/* PGA Gain Value */
#define AD7124_PGA_GAIN(x) (1 << (x))

#define AD7124_REF_VOLTAGE 2.5
#define AD7124_ADC_N_BITS 24

uint8_t ad7124_get_channel_setup(struct ad7124_dev *dev, uint8_t channel);
uint8_t ad7124_get_channel_pga(struct ad7124_dev *dev, uint8_t channel);
bool ad7124_get_channel_bipolar(struct ad7124_dev *dev, uint8_t channel);
double ad7124_convert_sample_to_voltage(struct ad7124_dev *dev, uint8_t channel,
                                       uint32_t sample);

#endif /* AD7124_SUPPORT_H_ */
```

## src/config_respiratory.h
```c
#ifndef __respiratory_
#define __respiratory_

/*!
 *****************************************************************************
  @file:  ad7124_regs_config_a.c

  @brief: Configuration file A for AD7124

  @details:
 -----------------------------------------------------------------------------
Copyright (c) 2019 Analog Devices, Inc.
*/

#include "ad7124_regs.h"

#define boardname "respiratory"
#define filterFS 360

const static struct ad7124_st_reg ad7124_regs_config_b[AD7124_REG_NO] = {
    {0x00, 0x00,   1, 2}, /* AD7124_Status */
	{0x01, AD7124_ADC_CTRL_REG_POWER_MODE(0b10) | AD7124_ADC_CTRL_REG_MODE(0b0010) | AD7124_ADC_CTRL_REG_CLK_SEL(0) | AD7124_ADC_CTRL_REG_REF_EN | AD7124_ADC_CTRL_REG_CS_EN, 2, 1}, /* AD7124_ADC_Control */
	{0x02, 0x0000, 3, 2}, /* AD7124_Data */
	{0x03, 0x0000, 3, 1}, /* AD7124_IOCon1 */
	{0x04, 0x0000, 2, 1}, /* AD7124_IOCon2 */
	{0x05, 0x02,   1, 2}, /* AD7124_ID */
	{0x06, 0x0000, 3, 2}, /* AD7124_Error */
	{0x07, AD7124_ERREN_REG_ADC_SAT_ERR_EN | AD7124_ERREN_REG_ADC_CONV_ERR_EN | AD7124_ERREN_REG_ADC_CAL_ERR_EN | AD7124_ERREN_REG_AINM_OV_ERR_EN | AD7124_ERREN_REG_AINM_UV_ERR_EN | AD7124_ERREN_REG_REF_DET_ERR_EN, 3, 1}, /* AD7124_Error_En (enable everything here asap) */
	{0x08, 0x0000,   1, 2}, /* AD7124_Mclk_Count */
	{0x09, AD7124_CH_MAP_REG_CH_ENABLE | AD7124_CH_MAP_REG_SETUP(0) | AD7124_CH_MAP_REG_AINP(1) | AD7124_CH_MAP_REG_AINM(0), 2, 1}, /* AD7124_Channel_0 */
	{0x0A, 0x0002, 2, 1}, /* AD7124_Channel_1 */
	{0x0B, 0x0003, 2, 1}, /* AD7124_Channel_2 */
	{0x0C, 0x0004, 2, 1}, /* AD7124_Channel_3 */
	{0x0D, 0x0005, 2, 1}, /* AD7124_Channel_4 */
	{0x0E, 0x0001, 2, 1}, /* AD7124_Channel_5 */
	{0x0F, 0x0001, 2, 1}, /* AD7124_Channel_6 */
	{0x10, 0x0001, 2, 1}, /* AD7124_Channel_7 */
	{0x11, 0x0001, 2, 1}, /* AD7124_Channel_8 */
	{0x12, 0x0001, 2, 1}, /* AD7124_Channel_9 */
	{0x13, 0x0000, 2, 1}, /* AD7124_Channel_10 */
	{0x14, 0x0000, 2, 1}, /* AD7124_Channel_11 */
	{0x15, 0x0000, 2, 1}, /* AD7124_Channel_12 */
	{0x16, 0x0000, 2, 1}, /* AD7124_Channel_13 */
	{0x17, 0x0000, 2, 1}, /* AD7124_Channel_14 */
	{0x18, 0x0000, 2, 1}, /* AD7124_Channel_15 */
	{0x19, AD7124_CFG_REG_REF_SEL(0b10) | AD7124_CFG_REG_BIPOLAR | AD7124_CFG_REG_PGA(0), 2, 1}, /* AD7124_Config_0 */
	{0x1A, 0x0860, 2, 1}, /* AD7124_Config_1 */
	{0x1B, 0x0860, 2, 1}, /* AD7124_Config_2 */
	{0x1C, 0x0860, 2, 1}, /* AD7124_Config_3 */
	{0x1D, 0x0860, 2,1 }, /* AD7124_Config_4 */
	{0x1E, 0x0860, 2,1 },/* AD7124_Config_5 */
	{0x1F, 0x0860, 2,1 },/* AD7124_Config_6 */
	{0x20, 0x0860, 2,1 },/* AD7124_Config_7 */
	{0x21, AD7124_FILT_REG_FS(filterFS), 3, 1}, /* AD7124_Filter_0 */
	{0x22, 0, 3, 1}, /* AD7124_Filter_1 */
	{0x23, 0, 3, 1},/* AD7124_Filter_2 */
	{0x24, 0, 3, 1},/* AD7124_Filter_3 */
	{0x25, 0, 3, 1},/* AD7124_Filter_4 */
	{0x26, 0, 3, 1},/* AD7124_Filter_5 */
	{0x27, 0, 3, 1},/* AD7124_Filter_6 */
	{0x28, 0, 3, 1},/* AD7124_Filter_7 */
	{0x29, 0x800000, 3, 1}, /* AD7124_Offset_0 */
	{0x2A, 0x800000, 3, 1}, /* AD7124_Offset_1 */
	{0x2B, 0x800000, 3, 1}, /* AD7124_Offset_2 */
	{0x2C, 0x800000, 3, 1}, /* AD7124_Offset_3 */
	{0x2D, 0x800000, 3, 1}, /* AD7124_Offset_4 */
	{0x2E, 0x800000, 3, 1}, /* AD7124_Offset_5 */
	{0x2F, 0x800000, 3, 1}, /* AD7124_Offset_6 */
	{0x30, 0x800000, 3, 1}, /* AD7124_Offset_7 */
	{0x31, 0x500000, 3, 1}, /* AD7124_Gain_0 */
	{0x32, 0x500000, 3, 1}, /* AD7124_Gain_1 */
	{0x33, 0x500000, 3, 1}, /* AD7124_Gain_2 */
	{0x34, 0x500000, 3, 1}, /* AD7124_Gain_3 */
	{0x35, 0x500000, 3, 1}, /* AD7124_Gain_4 */
	{0x36, 0x500000, 3, 1}, /* AD7124_Gain_5 */
	{0x37, 0x500000, 3, 1}, /* AD7124_Gain_6 */
	{0x38, 0x500000, 3, 1}, /* AD7124_Gain_7 */
};


#endif
```

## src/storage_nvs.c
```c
#include <zephyr/kernel.h>
#include <zephyr/sys/util.h>
#include <zephyr/logging/log.h>
#include <zephyr/drivers/flash.h>
#include <zephyr/storage/flash_map.h>
#include <zephyr/fs/nvs.h>


#include <zephyr/pm/device.h>
#include <zephyr/bluetooth/bluetooth.h>
#include <zephyr/bluetooth/hci.h>
#include <zephyr/bluetooth/conn.h>
#include <zephyr/bluetooth/uuid.h>
#include <zephyr/bluetooth/gatt.h>

#include "storage_nvs.h"

static struct nvs_fs fs;

LOG_MODULE_REGISTER(STORAGE_MODULE, CONFIG_LOG_DEFAULT_LEVEL);

const struct device *spi_flash_dev;

int write_uniqueIdentifier(uint16_t *identifier) {
	nvs_write(&fs, NVS_DEVICE_ID, identifier, sizeof(uint16_t) );
	return 0;
}

int read_uniqueidentifier(uint16_t *identifier) {
	nvs_read(&fs, NVS_DEVICE_ID, identifier, sizeof(uint16_t) );
	return 0;
}

static int flash_set_suspend() {  
	int ret = pm_device_action_run(spi_flash_dev, PM_DEVICE_ACTION_SUSPEND);
	if(ret) { 
		LOG_ERR("could not suspend qspi flash device %d, %s", ret, spi_flash_dev->name);
		return ret;	
	}
	
	LOG_INF("qspi suspended");
	// ret = pm_device_action_run(spi_flash_dev, PM_DEVICE_ACTION_TURN_OFF);
	// if(ret) {
	// 	LOG_ERR("could not turn of qspi flash, %d, %s", ret, spi_flash_dev->name);
	// 	return ret;
	// }		
	// LOG_INF("qspi turned off");
	return 0;
}

int init_external_storage(void) {	
	LOG_INF("init storage");
    int rc = 0;	
	
	spi_flash_dev = DEVICE_DT_GET(DT_ALIAS(spi_flash0));	
	if (!device_is_ready(spi_flash_dev)) {
		LOG_ERR("%s: device not ready.\n", spi_flash_dev->name);
		return rc;
	}
	
    struct flash_pages_info info;

	LOG_INF("flash device found: %s", spi_flash_dev->name);	
	
	rc = flash_get_page_info_by_offs(spi_flash_dev, 0, &info);
	if (rc) {
		LOG_ERR("Unable to get page info\n");
		return rc;
	}
		
	rc |= flash_set_suspend();	
	return rc;
}


int init_internal_storage() {
    
	LOG_INF("init internal storage");
	const struct device *flash_dev = STORAGE_PARTITION_DEVICE;
	
	if (!device_is_ready(flash_dev)) {
		LOG_ERR("%s: device not ready.\n", flash_dev->name);
		return ENODEV;
	}
	fs.flash_device = flash_dev;
    int rc = 0;	

    struct flash_pages_info info;

	LOG_INF("flash device found: %s", fs.flash_device->name);
		
	fs.offset = 0xfe000; 			
	
	rc = flash_get_page_info_by_offs(fs.flash_device, fs.offset, &info);
	if (rc) {
		LOG_ERR("Unable to get page info\n");
		return -1;
	}
  

	fs.sector_size = info.size;
	fs.sector_count = 0x2000 / info.size; 

	// todo:implement nvs
	rc = nvs_mount(&fs);
	LOG_INF("fs sector size = %d", info.size);
	if (rc) {
		LOG_ERR("Flash Init failed\n");
		return -1;
	}  		

	return rc;
}

int init_storage_module() {
	int err = 0;
	err |= init_external_storage();
	if(err) {
		LOG_ERR("init storage failed");
	}
	err |= init_internal_storage();
	if(err) {
		LOG_ERR("init internal storage failed");
	}
	return err;
}

SYS_INIT(init_storage_module, APPLICATION, CONFIG_APPLICATION_INIT_PRIORITY);
```
